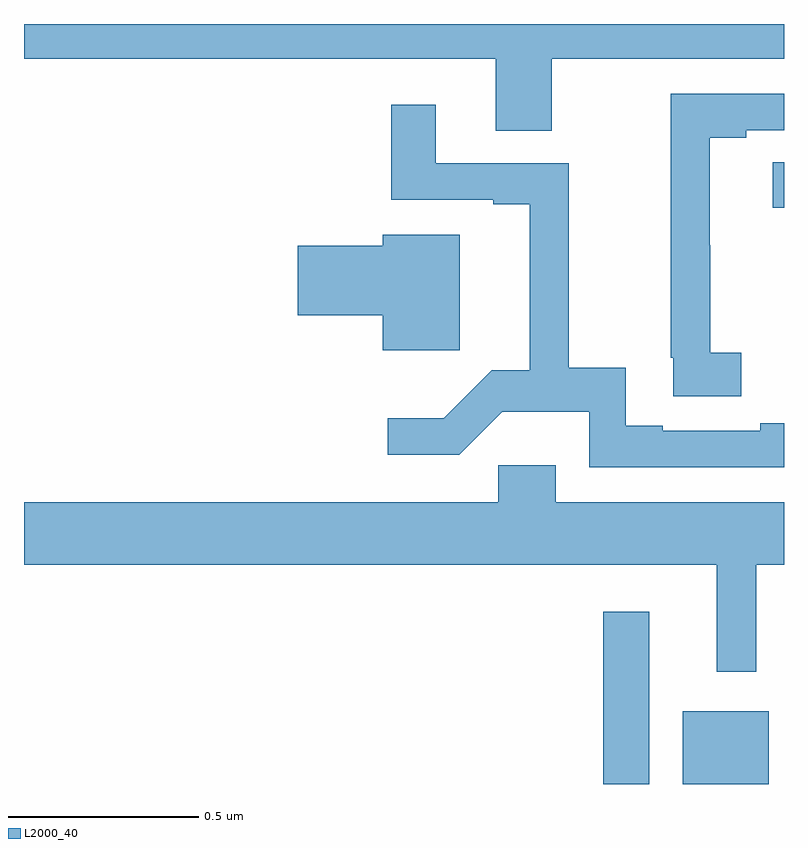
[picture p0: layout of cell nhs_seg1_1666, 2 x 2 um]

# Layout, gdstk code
import gdstk
lib = gdstk.Library(unit=1e-6, precision=1e-09)
def R(c, l, rs):  # rectangles x0, y0, x1, y1
    for r in rs: c.add(gdstk.rectangle(r[:2], r[2:], *l))
def P(c, l, *ps):  # polygons
    for p in ps: c.add(gdstk.Polygon(p, *l))
L2000_40 = (2000, 40)

nhs_seg1_1666 = lib.new_cell('nhs_seg1_1666')
R(nhs_seg1_1666, L2000_40, [(133.524,507.199,133.645,507.652), (133.733,507.199,133.96,507.391), (133.971,508.715,134,508.835)])
P(nhs_seg1_1666, L2000_40, [(133.389,509.108),(134,509.108),(134,509.199),(132,509.199),(132,509.108),(133.241,509.108),(133.241,508.918),(133.389,508.918)],
  [(133.888,508.334),(133.806,508.334),(133.806,508.617),(133.804,508.617),(133.804,508.9),(133.9,508.9),(133.9,508.92),(134,508.92),(134,509.016),(133.702,509.016),(133.702,508.321),(133.708,508.321),(133.708,508.219),(133.888,508.219)],
  [(134,508.148),(133.937,508.148),(133.937,508.128),(133.681,508.128),(133.681,508.142),(133.584,508.142),(133.584,508.295),(133.433,508.295),(133.433,508.833),(133.084,508.833),(133.084,508.987),(132.967,508.987),(132.967,508.737),(133.235,508.737),(133.235,508.725),(133.331,508.725),(133.331,508.288),(133.231,508.288),(133.105,508.162),(132.957,508.162),(132.957,508.065),(133.146,508.065),(133.259,508.178),(133.488,508.178),(133.488,508.032),(134,508.032)],
  [(133.147,508.645),(132.944,508.645),(132.944,508.616),(132.72,508.616),(132.72,508.433),(132.944,508.433),(132.944,508.34),(133.147,508.34)],
  [(133.927,507.776),(134,507.776),(134,507.94),(133.399,507.94),(133.399,508.038),(133.248,508.038),(133.248,507.94),(132,507.94),(132,507.776),(133.823,507.776),(133.823,507.495),(133.927,507.495)])

lib.write_gds('nhs_seg1_1666.gds')
